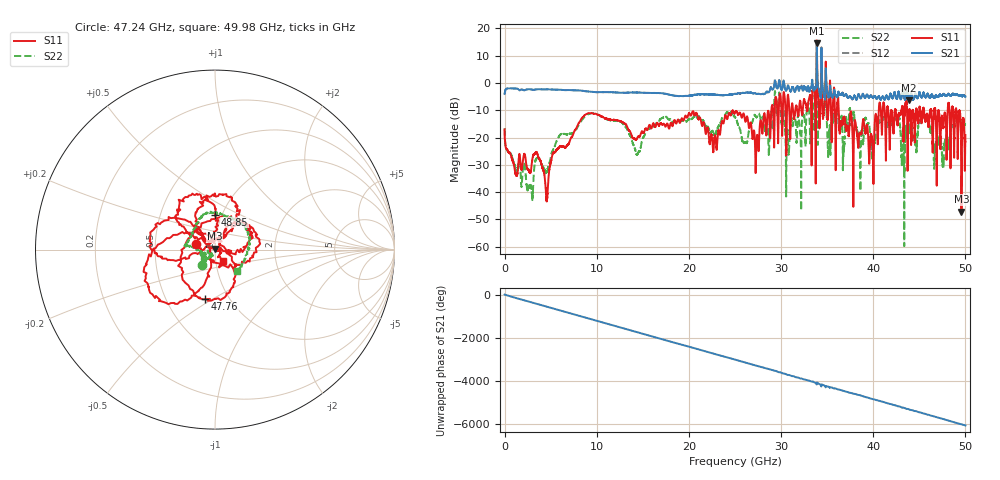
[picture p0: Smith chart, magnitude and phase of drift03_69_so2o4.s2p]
!Created with skrf (http://scikit-rf.org).
# Hz S RI R 50.0
!freq ReS11 ImS11 ReS21 ImS21 ReS12 ImS12 ReS22 ImS22
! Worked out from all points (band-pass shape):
!   10001 points, 300 kHz to 50 GHz, reference 50 ohm
!   highest |S21| = 14.58 dB at 33.88 GHz (marker M1); lowest = -6.3 dB at 43.9 GHz (marker M2)
!   |S21| within 3 dB of the highest: 33.86913 GHz to 33.88814 GHz (19.01 MHz wide, 0.0561 % of centre); 34.37695 GHz to 34.38836 GHz (11.42 MHz wide, 0.0332 % of centre)
!   lowest |S11| = -47.1 dB at 49.58 GHz (marker M3), VSWR 1.01, Z = 50 + j0.438 ohm
!   |S11| at or under -10 dB: start of sweep to 28.94 GHz; 36.27 GHz to 40.6 GHz (4.335 GHz wide, 11.3 % of centre); 47.09 GHz to 48.08 GHz (993.4 MHz wide, 2.09 % of centre) (the widest 3 of 60)
!   |S22| runs from -59.8 to 11.3 dB; largest |S21 - S12| = 0.82
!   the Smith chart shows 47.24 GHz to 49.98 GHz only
!   S11 on the Smith chart (normalised r, x): 47.24 GHz: 0.81, +0.05; 47.76 GHz: 0.77, -0.46; 48.85 GHz: 0.93, +0.38; 49.98 GHz: 1.08, -0.14
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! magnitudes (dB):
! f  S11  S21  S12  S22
! 300 kHz  -17.0  -4.0  -4.0  -16.7
! 2.82 GHz  -32.7  -2.4  -2.4  -37.9
! 4.56 GHz  -43.1  -2.3  -2.3  -32.5
! 8.335 GHz  -13.1  -2.8  -2.8  -13.9
! 14.45 GHz  -19.9  -3.5  -3.5  -25.8
! 16.67 GHz  -15.4  -3.7  -3.7  -14.3
! 22.82 GHz  -19.3  -4.3  -4.3  -19.2
! 25 GHz  -10.9  -4.0  -4.0  -12.4
! 27.39 GHz  -19.3  -4.1  -4.1  -12.5
! 29.6 GHz  -10.5  -2.0  -2.1  -11.7
! 30.7 GHz  -5.7  -1.4  -1.5  -17.2
! 33.34 GHz  -14.1  -0.4  -0.5  -7.0
! 33.88 GHz  15.6  14.6  14.3  11.1
! 39.8 GHz  -19.0  -4.9  -4.7  -24.1
! 41.67 GHz  -12.1  -5.9  -5.9  -15.1
! 43.9 GHz  -9.7  -6.3  -6.3  -17.2
! 47.24 GHz  -19.2  -4.3  -4.2  -19.2
! 47.76 GHz  -11.0  -4.5  -4.4  -22.5
! 48.85 GHz  -14.2  -4.3  -4.3  -15.7
! 49.58 GHz  -47.1  -4.7  -4.7  -13.6
! 49.98 GHz  -22.1  -4.9  -4.9  -15.3
! 50 GHz  -19.1  -5.0  -4.9  -15.1
